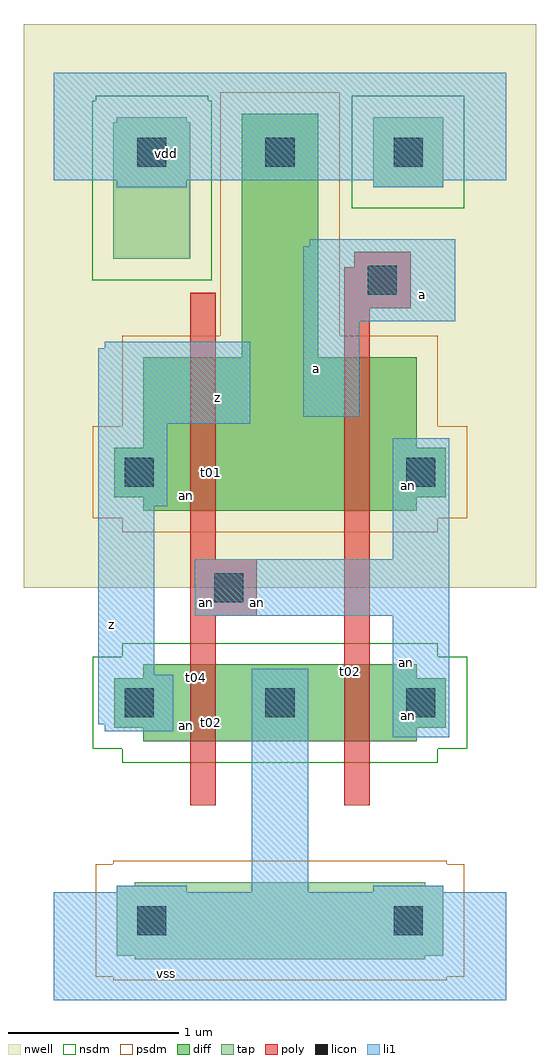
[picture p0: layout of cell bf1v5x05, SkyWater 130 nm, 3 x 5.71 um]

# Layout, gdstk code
import gdstk
lib = gdstk.Library(unit=1e-6, precision=5e-09)
def R(c, l, rs):  # rectangles x0, y0, x1, y1
    for r in rs: c.add(gdstk.rectangle(r[:2], r[2:], *l))
def A(c, l, x, y, w, h, nx, ny, dx, dy):  # array of equal rectangles
    R(c, l, [(x+i*dx, y+j*dy, x+i*dx+w, y+j*dy+h) for i in range(nx) for j in range(ny)])
nwell = (64, 20)
diff = (65, 20)
tap = (65, 44)
poly = (66, 20)
licon = (66, 44)
li1 = (67, 20)
nsdm = (93, 44)
psdm = (94, 20)

bf1v5x05 = lib.new_cell('bf1v5x05')
R(bf1v5x05, nwell, [(-0.3,2.4,2.7,5.7)])
R(bf1v5x05, diff, [(0.4,1.5,2,1.95), (0.23,1.58,2.17,1.87), (0.4,2.85,2,3.75), (0.975,2.85,1.425,5.175), (0.23,2.93,2.17,3.22)])
R(bf1v5x05, tap, [(0.35,0.225,2.05,0.675), (0.245,0.245,2.155,0.655), (0.225,4.325,0.675,5.125), (0.245,4.325,0.655,5.155), (1.745,4.745,2.155,5.155)])
R(bf1v5x05, poly, [(0.675,1.125,0.825,4.125), (1.575,1.125,1.725,4.275), (0.675,2.235,1.065,2.565), (1.575,4.035,1.965,4.275), (1.575,4.035,1.965,4.275), (1.635,4.035,1.965,4.365)])
A(bf1v5x05, licon, 0.29, 1.64, 0.17, 0.17, 3, 1, 0.825, 0)
A(bf1v5x05, licon, 0.365, 4.865, 0.17, 0.17, 3, 1, 0.75, 0)
R(bf1v5x05, licon, [(0.365,0.365,0.535,0.535), (1.865,0.365,2.035,0.535), (0.815,2.315,0.985,2.485), (0.29,2.99,0.46,3.16), (1.94,2.99,2.11,3.16), (1.715,4.115,1.885,4.285)])
R(bf1v5x05, li1, [(-0.125,-0.015,2.525,0.615), (-0.125,-0.015,2.525,0.615), (0.245,-0.015,0.655,0.655), (1.035,-0.015,1.365,1.925), (1.745,-0.015,2.155,0.655), (1.86,1.525,2.19,3.275), (0.175,1.56,0.575,1.89), (0.175,1.56,0.465,3.84), (0.135,1.6,0.575,1.89), (0.135,1.6,0.465,3.8), (0.135,1.675,0.465,3.725), (0.7,2.235,2.19,2.565), (0.135,2.875,0.54,3.8), (0.175,2.875,0.54,3.84), (0.135,3.36,1.025,3.8), (0.175,3.36,1.025,3.84), (1.335,3.4,1.665,4.4), (1.375,3.4,1.665,4.44), (1.375,3.4,1.665,4.44), (0.775,3.435,1.025,3.765), (1.335,3.475,1.665,4.325), (1.335,3.96,2.225,4.4), (1.375,3.96,2.225,4.44), (1.975,4.035,2.225,4.365), (0.245,4.745,0.655,5.415), (1.745,4.745,2.155,5.415), (-0.125,4.785,2.525,5.415), (-0.125,4.785,2.525,5.415)])
A(bf1v5x05, nsdm, 0.23, 1.58, 0.29, 0.29, 3, 1, 0.825, 0)
R(bf1v5x05, nsdm, [(0.275,1.375,2.125,2.075), (0.105,1.455,2.295,1.995), (0.975,1.5,1.425,1.875), (0.975,1.5,1.425,1.875), (1.05,1.5,1.35,1.95), (1.05,1.5,1.35,1.95), (0.1,4.2,0.8,5.25), (0.12,4.2,0.78,5.28), (1.62,4.62,2.28,5.28)])
R(bf1v5x05, psdm, [(0.225,0.1,2.175,0.8), (0.12,0.12,2.28,0.78), (0.275,2.725,2.125,3.875), (0.85,2.725,1.55,5.3), (0.105,2.805,2.295,3.345), (0.975,2.85,1.425,5.175), (0.975,2.85,1.425,5.175), (0.23,2.93,0.52,3.22), (1.88,2.93,2.17,3.22), (1.055,4.805,1.345,5.095)])
bf1v5x05.add(gdstk.Label('an', (0.65,1.59), layer=93, texttype=44))
bf1v5x05.add(gdstk.Label('t04', (0.735,1.55), layer=93, texttype=44))
bf1v5x05.add(gdstk.Label('an', (0.65,2.94), layer=94, texttype=20))
bf1v5x05.add(gdstk.Label('t01', (0.735,3.01), layer=94, texttype=20))
bf1v5x05.add(gdstk.Label('t02', (0.8,1.61), layer=65, texttype=20))
bf1v5x05.add(gdstk.Label('an', (0.715,1.65), layer=65, texttype=20))
bf1v5x05.add(gdstk.Label('t01', (0.8,3.075), layer=65, texttype=20))
bf1v5x05.add(gdstk.Label('an', (0.715,3), layer=65, texttype=20))
bf1v5x05.add(gdstk.Label('an', (1.95,1.65), layer=93, texttype=44))
bf1v5x05.add(gdstk.Label('an', (1.95,3), layer=94, texttype=20))
bf1v5x05.add(gdstk.Label('t04', (0.71,1.875), layer=66, texttype=20))
bf1v5x05.add(gdstk.Label('an', (0.77,2.315), layer=66, texttype=20))
bf1v5x05.add(gdstk.Label('t02', (1.61,1.91), layer=66, texttype=20))
bf1v5x05.add(gdstk.Label('an', (1.98,3.03), layer=66, texttype=44))
bf1v5x05.add(gdstk.Label('an', (1.98,1.68), layer=66, texttype=44))
bf1v5x05.add(gdstk.Label('an', (0.855,2.355), layer=66, texttype=44))
bf1v5x05.add(gdstk.Label('z', (0.215,2.185), layer=67, texttype=20))
bf1v5x05.add(gdstk.Label('z', (0.835,3.515), layer=67, texttype=20))
bf1v5x05.add(gdstk.Label('a', (1.415,3.685), layer=67, texttype=20))
bf1v5x05.add(gdstk.Label('vss', (0.535,0.14), layer=67, texttype=20))
bf1v5x05.add(gdstk.Label('an', (1.07,2.315), layer=67, texttype=20))
bf1v5x05.add(gdstk.Label('an', (1.94,1.96), layer=67, texttype=20))
bf1v5x05.add(gdstk.Label('a', (2.035,4.115), layer=67, texttype=20))
bf1v5x05.add(gdstk.Label('vdd', (0.535,4.94), layer=67, texttype=20))

lib.write_gds('bf1v5x05.gds')
